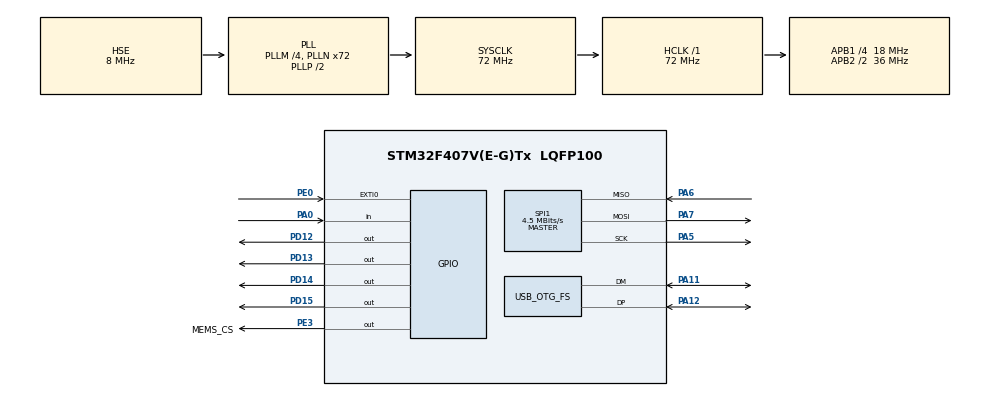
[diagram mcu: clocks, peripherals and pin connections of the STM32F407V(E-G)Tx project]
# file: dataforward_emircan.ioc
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Mcu.Family=STM32F4
Mcu.Name=STM32F407V(E-G)Tx
Mcu.Package=LQFP100
NVIC.EXTI0_IRQn=true\:0\:0\:false\:false\:true\:true\:true\:true
NVIC.OTG_FS_IRQn=true\:0\:0\:false\:false\:true\:false\:true\:true
NVIC.PriorityGroup=NVIC_PRIORITYGROUP_0
NVIC.TIM7_IRQn=true\:0\:0\:false\:false\:true\:true\:true\:true
PA0-WKUP.Signal=GPIO_Input
PA11.Mode=Device_Only
PA11.Signal=USB_OTG_FS_DM
PA12.Mode=Device_Only
PA12.Signal=USB_OTG_FS_DP
PA5.Mode=Full_Duplex_Master
PA5.Signal=SPI1_SCK
PA6.Mode=Full_Duplex_Master
PA6.Signal=SPI1_MISO
PA7.Mode=Full_Duplex_Master
PA7.Signal=SPI1_MOSI
PD12.Signal=GPIO_Output
PD13.Signal=GPIO_Output
PD14.Signal=GPIO_Output
PD15.Signal=GPIO_Output
PE0.Signal=GPXTI0
PE3.GPIO_Label=MEMS_CS
PE3.Signal=GPIO_Output
PH0-OSC_IN.Mode=HSE-External-Oscillator
PH0-OSC_IN.Signal=RCC_OSC_IN
PH1-OSC_OUT.Mode=HSE-External-Oscillator
PH1-OSC_OUT.Signal=RCC_OSC_OUT
ProjectManager.HeapSize=0x200
ProjectManager.StackSize=0x400
ProjectManager.TargetToolchain=STM32CubeIDE
RCC.48MHZClocksFreq_Value=48000000
RCC.AHBFreq_Value=72000000
RCC.APB1CLKDivider=RCC_HCLK_DIV4
RCC.APB1Freq_Value=18000000
RCC.APB1TimFreq_Value=36000000
RCC.APB2CLKDivider=RCC_HCLK_DIV2
RCC.APB2Freq_Value=36000000
RCC.APB2TimFreq_Value=72000000
RCC.CortexFreq_Value=72000000
RCC.HCLKFreq_Value=72000000
RCC.HSE_VALUE=8000000
RCC.HSI_VALUE=16000000
RCC.LSE_VALUE=32768
RCC.PLLM=4
RCC.PLLN=72
RCC.PLLQ=3
RCC.SYSCLKFreq_VALUE=72000000
RCC.SYSCLKSource=RCC_SYSCLKSOURCE_PLLCLK
RCC.VCOOutputFreq_Value=144000000
SPI1.BaudRatePrescaler=SPI_BAUDRATEPRESCALER_8
SPI1.CalculateBaudRate=4.5 MBits/s
SPI1.DataSize=SPI_DATASIZE_8BIT
SPI1.Direction=SPI_DIRECTION_2LINES
SPI1.Mode=SPI_MODE_MASTER
SPI1.VirtualType=VM_MASTER
TIM7.Period=5000
TIM7.Prescaler=20000
USB_DEVICE.CLASS_NAME_FS=CDC
USB_DEVICE.VirtualMode-CDC_FS=Cdc
USB_DEVICE.VirtualModeFS=Cdc_FS
USB_OTG_FS.VirtualMode=Device_Only
VP_TIM7_VS_ClockSourceINT.Mode=Enable_Timer
VP_USB_DEVICE_VS_USB_DEVICE_CDC_FS.Mode=CDC_FS
board=STM32F407G-DISC1

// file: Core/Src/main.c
/* USER CODE BEGIN Header */
/**
  ******************************************************************************
  * @file           : main.c
  * @brief          : Main program body
  ******************************************************************************
  * @attention
  *
  * Copyright (c) 2022 STMicroelectronics.
  * All rights reserved.
  *
  * This software is licensed under terms that can be found in the LICENSE file
  * in the root directory of this software component.
  * If no LICENSE file comes with this software, it is provided AS-IS.
  *
  ******************************************************************************
  */
/* USER CODE END Header */
#include "main.h"
#include "usb_device.h"

/* USER CODE BEGIN Includes */
#include "MY_LIS3DSH.h"
/* USER CODE END Includes */

/* USER CODE BEGIN PTD */
typedef struct{
	LIS3DSH_DataScaled mydata;
	char temp[31];
	char allinone[69];
}senddata;
/* USER CODE END PTD */

SPI_HandleTypeDef hspi1;
senddata savedata;
int drdyFlag;
TIM_HandleTypeDef htim7;

/* USER CODE BEGIN PV */
/* Private variables ---------------------------------------------------------*/

/* USER CODE END PV */

void SystemClock_Config(void);
static void MX_GPIO_Init(void);
static void MX_SPI1_Init(void);
static void MX_TIM7_Init(void);
/* USER CODE BEGIN PFP */
/* Private function prototypes -----------------------------------------------*/

/* USER CODE END PFP */

/* USER CODE BEGIN 0 */
void dataforward(int x)
{
	if(x==1)
	{
  		savedata.mydata = LIS3DSH_GetDataScaled();
		HAL_GPIO_WritePin(GPIOD, GPIO_PIN_12,0);
		HAL_GPIO_WritePin(GPIOD, GPIO_PIN_15,1);
  		memset(savedata.allinone,'\0',sizeof(savedata.allinone));
        snprintf(savedata.temp, sizeof(savedata.temp), "%f,", savedata.mydata.x);
        strcat(savedata.allinone, savedata.temp);
        memset(savedata.temp,'\0',sizeof(savedata.temp));
        snprintf(savedata.temp, sizeof(savedata.temp), "%f,", savedata.mydata.y);
        strcat(savedata.allinone, savedata.temp);
        memset(savedata.temp,'\0',sizeof(savedata.temp));
        snprintf(savedata.temp, sizeof(savedata.temp),"%f\n,",savedata.mydata.z);
        strcat(savedata.allinone, savedata.temp);
        memset(savedata.temp,'\0',sizeof(savedata.temp));
    	CDC_Transmit_FS((uint8_t*) savedata.allinone, (uint16_t) strlen(savedata.allinone));
    	drdyFlag=0;
	}
}
/* USER CODE END 0 */

int main(void)
{
  /* USER CODE BEGIN 1 */
	LIS3DSH_InitTypeDef myAccConfigDef;
  /* USER CODE END 1 */

  /* MCU Configuration--------------------------------------------------------*/

  /* Reset of all peripherals, Initializes the Flash interface and the Systick. */
  HAL_Init();

  /* USER CODE BEGIN Init */
  //HAL_TIM_Base_Start_IT(&htim7);//first IT

  /* USER CODE END Init */

  /* Configure the system clock */
  SystemClock_Config();

  /* Initialize all configured peripherals */
  MX_GPIO_Init();
  MX_SPI1_Init();
  MX_USB_DEVICE_Init();
  MX_TIM7_Init();
  /* USER CODE BEGIN 2 */
    HAL_TIM_Base_Start_IT(&htim7);
	myAccConfigDef.dataRate = LIS3DSH_DATARATE_800;
	myAccConfigDef.fullScale = LIS3DSH_FULLSCALE_4;
	myAccConfigDef.antiAliasingBW = LIS3DSH_FILTER_BW_50;
	myAccConfigDef.enableAxes = LIS3DSH_XYZ_ENABLE;
	myAccConfigDef.interruptEnable = true;
	LIS3DSH_Init(&hspi1, &myAccConfigDef);

	LIS3DSH_X_calibrate(-1000.0, 980.0);
	LIS3DSH_Y_calibrate(-1020.0, 1040.0);
	LIS3DSH_Z_calibrate(-920.0, 1040.0);
	CDC_Transmit_FS((uint8_t*) "\n", (uint16_t) strlen("\n"));

  /* USER CODE END 2 */

  /* Infinite loop */
  while (1)
  {

    /* USER CODE BEGIN 3 */
	  dataforward(drdyFlag);
  }
  /* USER CODE END 3 */
}

void SystemClock_Config(void)
{
  RCC_OscInitTypeDef RCC_OscInitStruct = {0};
  RCC_ClkInitTypeDef RCC_ClkInitStruct = {0};

  /** Configure the main internal regulator output voltage
  */
  __HAL_RCC_PWR_CLK_ENABLE();
  __HAL_PWR_VOLTAGESCALING_CONFIG(PWR_REGULATOR_VOLTAGE_SCALE1);

  /** Initializes the RCC Oscillators according to the specified parameters
  * in the RCC_OscInitTypeDef structure.
  */
  RCC_OscInitStruct.OscillatorType = RCC_OSCILLATORTYPE_HSE;
  RCC_OscInitStruct.HSEState = RCC_HSE_ON;
  RCC_OscInitStruct.PLL.PLLState = RCC_PLL_ON;
  RCC_OscInitStruct.PLL.PLLSource = RCC_PLLSOURCE_HSE;
  RCC_OscInitStruct.PLL.PLLM = 4;
  RCC_OscInitStruct.PLL.PLLN = 72;
  RCC_OscInitStruct.PLL.PLLP = RCC_PLLP_DIV2;
  RCC_OscInitStruct.PLL.PLLQ = 3;
  if (HAL_RCC_OscConfig(&RCC_OscInitStruct) != HAL_OK)
  {
    Error_Handler();
  }

  /** Initializes the CPU, AHB and APB buses clocks
  */
  RCC_ClkInitStruct.ClockType = RCC_CLOCKTYPE_HCLK|RCC_CLOCKTYPE_SYSCLK
                              |RCC_CLOCKTYPE_PCLK1|RCC_CLOCKTYPE_PCLK2;
  RCC_ClkInitStruct.SYSCLKSource = RCC_SYSCLKSOURCE_PLLCLK;
  RCC_ClkInitStruct.AHBCLKDivider = RCC_SYSCLK_DIV1;
  RCC_ClkInitStruct.APB1CLKDivider = RCC_HCLK_DIV4;
  RCC_ClkInitStruct.APB2CLKDivider = RCC_HCLK_DIV2;

  if (HAL_RCC_ClockConfig(&RCC_ClkInitStruct, FLASH_LATENCY_2) != HAL_OK)
  {
    Error_Handler();
  }
}

static void MX_SPI1_Init(void)
{

  /* SPI1 parameter configuration*/
  hspi1.Instance = SPI1;
  hspi1.Init.Mode = SPI_MODE_MASTER;
  hspi1.Init.Direction = SPI_DIRECTION_2LINES;
  hspi1.Init.DataSize = SPI_DATASIZE_8BIT;
  hspi1.Init.CLKPolarity = SPI_POLARITY_LOW;
  hspi1.Init.CLKPhase = SPI_PHASE_1EDGE;
  hspi1.Init.NSS = SPI_NSS_SOFT;
  hspi1.Init.BaudRatePrescaler = SPI_BAUDRATEPRESCALER_8;
  hspi1.Init.FirstBit = SPI_FIRSTBIT_MSB;
  hspi1.Init.TIMode = SPI_TIMODE_DISABLE;
  hspi1.Init.CRCCalculation = SPI_CRCCALCULATION_DISABLE;
  hspi1.Init.CRCPolynomial = 10;
  if (HAL_SPI_Init(&hspi1) != HAL_OK)
  {
    Error_Handler();
  }

}

static void MX_TIM7_Init(void)
{

  TIM_MasterConfigTypeDef sMasterConfig = {0};

  htim7.Instance = TIM7;
  htim7.Init.Prescaler = 20000;
  htim7.Init.CounterMode = TIM_COUNTERMODE_UP;
  htim7.Init.Period = 5000;
  htim7.Init.AutoReloadPreload = TIM_AUTORELOAD_PRELOAD_DISABLE;
  if (HAL_TIM_Base_Init(&htim7) != HAL_OK)
  {
    Error_Handler();
  }
  sMasterConfig.MasterOutputTrigger = TIM_TRGO_RESET;
  sMasterConfig.MasterSlaveMode = TIM_MASTERSLAVEMODE_DISABLE;
  if (HAL_TIMEx_MasterConfigSynchronization(&htim7, &sMasterConfig) != HAL_OK)
  {
    Error_Handler();
  }

}

static void MX_GPIO_Init(void)
{
  GPIO_InitTypeDef GPIO_InitStruct = {0};

  /* GPIO Ports Clock Enable */
  __HAL_RCC_GPIOE_CLK_ENABLE();
  __HAL_RCC_GPIOH_CLK_ENABLE();
  __HAL_RCC_GPIOA_CLK_ENABLE();
  __HAL_RCC_GPIOD_CLK_ENABLE();

  /*Configure GPIO pin Output Level */
  HAL_GPIO_WritePin(MEMS_CS_GPIO_Port, MEMS_CS_Pin, GPIO_PIN_RESET);

  /*Configure GPIO pin Output Level */
  HAL_GPIO_WritePin(GPIOD, GPIO_PIN_12|GPIO_PIN_13|GPIO_PIN_14|GPIO_PIN_15, GPIO_PIN_RESET);

  /*Configure GPIO pin : MEMS_CS_Pin */
  GPIO_InitStruct.Pin = MEMS_CS_Pin;
  GPIO_InitStruct.Mode = GPIO_MODE_OUTPUT_PP;
  GPIO_InitStruct.Pull = GPIO_NOPULL;
  GPIO_InitStruct.Speed = GPIO_SPEED_FREQ_LOW;
  HAL_GPIO_Init(MEMS_CS_GPIO_Port, &GPIO_InitStruct);

  /*Configure GPIO pin : PA0 */
  GPIO_InitStruct.Pin = GPIO_PIN_0;
  GPIO_InitStruct.Mode = GPIO_MODE_INPUT;
  GPIO_InitStruct.Pull = GPIO_NOPULL;
  HAL_GPIO_Init(GPIOA, &GPIO_InitStruct);

  /*Configure GPIO pins : PD12 PD13 PD14 PD15 */
  GPIO_InitStruct.Pin = GPIO_PIN_12|GPIO_PIN_13|GPIO_PIN_14|GPIO_PIN_15;
  GPIO_InitStruct.Mode = GPIO_MODE_OUTPUT_PP;
  GPIO_InitStruct.Pull = GPIO_NOPULL;
  GPIO_InitStruct.Speed = GPIO_SPEED_FREQ_LOW;
  HAL_GPIO_Init(GPIOD, &GPIO_InitStruct);

  /*Configure GPIO pin : PE0 */
  GPIO_InitStruct.Pin = GPIO_PIN_0;
  GPIO_InitStruct.Mode = GPIO_MODE_IT_RISING;
  GPIO_InitStruct.Pull = GPIO_NOPULL;
  HAL_GPIO_Init(GPIOE, &GPIO_InitStruct);

  /* EXTI interrupt init*/
  HAL_NVIC_SetPriority(EXTI0_IRQn, 0, 0);
  HAL_NVIC_EnableIRQ(EXTI0_IRQn);

}

/* USER CODE BEGIN 4 */
void HAL_GPIO_EXTI_Callback(uint16_t GPIO_Pin)
{
  /* Prevent unused argument(s) compilation warning */
  UNUSED(GPIO_Pin);
  /* NOTE: This function Should not be modified, when the callback is needed,
           the HAL_GPIO_EXTI_Callback could be implemented in the user file
   */
		drdyFlag = 1;
		HAL_GPIO_WritePin(GPIOD, GPIO_PIN_15,0);
		HAL_GPIO_WritePin(GPIOD, GPIO_PIN_12,1);

}
void HAL_TIM_PeriodElapsedCallback(TIM_HandleTypeDef *htim)
{

}
/* USER CODE END 4 */

void Error_Handler(void)
{
  while(1)
  {
  }
}
